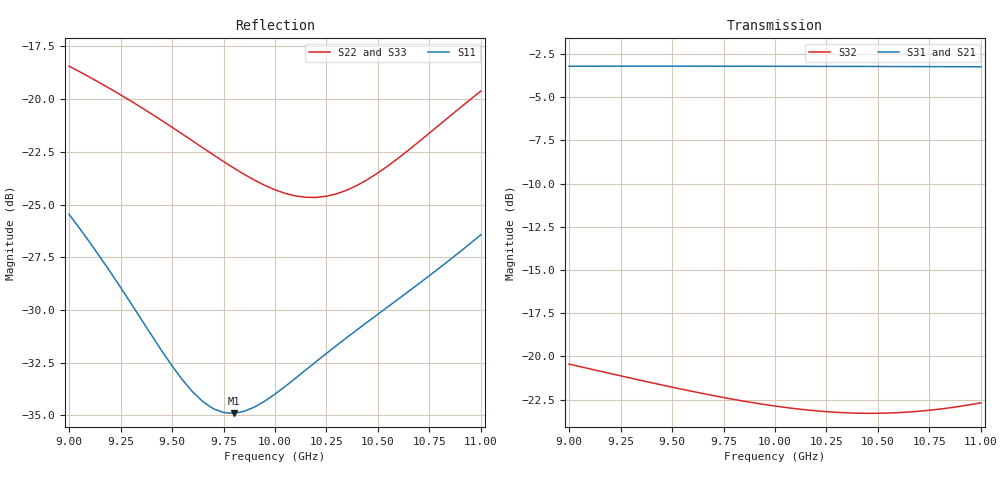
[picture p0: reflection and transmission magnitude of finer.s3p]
! yapnr rf: wilkinson-x10, footprint re-simulated (refine 3)
! spec sha256 873f85794a61544b0bb32f7d4ed76952a4a3fe576a48ff2aa00e031ce3428988
! 3 ports renormalized to 50 ohm, e^(+jwt) convention
# GHz S RI R 50
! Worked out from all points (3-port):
!   41 points, 9 GHz to 11 GHz, reference 50 ohm
!   strongest paths, dB at 9 GHz, 9.5 GHz, 10 GHz, 10.5 GHz, 11 GHz:
!     S31: -3.2, -3.2, -3.2, -3.2, -3.2
!     S21: -3.2, -3.2, -3.2, -3.2, -3.2
!     S32: -20.4, -21.8, -22.9, -23.3, -22.7
!   lowest |S11| = -34.9 dB at 9.8 GHz (marker M1), VSWR 1.04, Z = 51.3 + j1.26 ohm
!   |S11| at or under -10 dB: start of sweep to end of sweep
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9  0.0526 0.00862  -0.1306 0.6833  -0.1306 0.6833
   -0.1294 0.679  0.048 0.1097  -0.00115 -0.095
   -0.1294 0.679  -0.00115 -0.095  0.048 0.1097
9.25  0.0353 0.00565  -0.0354 0.6953  -0.0354 0.6953
      -0.0347 0.6907  0.0577 0.0845  -0.0271 -0.0836
      -0.0347 0.6907  -0.0271 -0.0836  0.0577 0.0845
9.55  0.0202 0.00776  0.0798 0.6917  0.0798 0.6917
      0.0798 0.687  0.0641 0.0522  -0.0515 -0.0616
      0.0798 0.687  -0.0515 -0.0616  0.0641 0.0522
9.7  0.0153 0.0103  0.1367 0.6826  0.1367 0.6826
     0.1365 0.6779  0.0648 0.0353  -0.0603 -0.048
     0.1365 0.6779  -0.0603 -0.048  0.0648 0.0353
9.8  0.0131 0.0123  0.1742 0.6739  0.1742 0.6739
     0.1737 0.6692  0.0643 0.0239  -0.0646 -0.0383
     0.1737 0.6692  -0.0646 -0.0383  0.0643 0.0239
10  0.0115 0.0164  0.2475 0.6503  0.2475 0.6503
    0.2465 0.6456  0.0609 0.000742  -0.0697 -0.0177
    0.2465 0.6456  -0.0697 -0.0177  0.0609 0.000742
10.2  0.0132 0.0199  0.3178 0.6187  0.3178 0.6187
      0.3164 0.614  0.054 -0.0224  -0.0695 0.00341
      0.3164 0.614  -0.0695 0.00341  0.054 -0.0224
10.4  0.018 0.022  0.3843 0.5792  0.3843 0.5792
      0.3824 0.5748  0.0433 -0.045  -0.0643 0.0239
      0.3824 0.5748  -0.0643 0.0239  0.0433 -0.045
10.6  0.0256 0.0218  0.4461 0.5325  0.4461 0.5325
      0.4439 0.5282  0.0287 -0.0666  -0.0541 0.0425
      0.4439 0.5282  -0.0541 0.0425  0.0287 -0.0666
11  0.0461 0.0122  0.5527 0.4189  0.5527 0.4189
    0.5497 0.4151  -0.0123 -0.1038  -0.0212 0.0703
    0.5497 0.4151  -0.0212 0.0703  -0.0123 -0.1038
